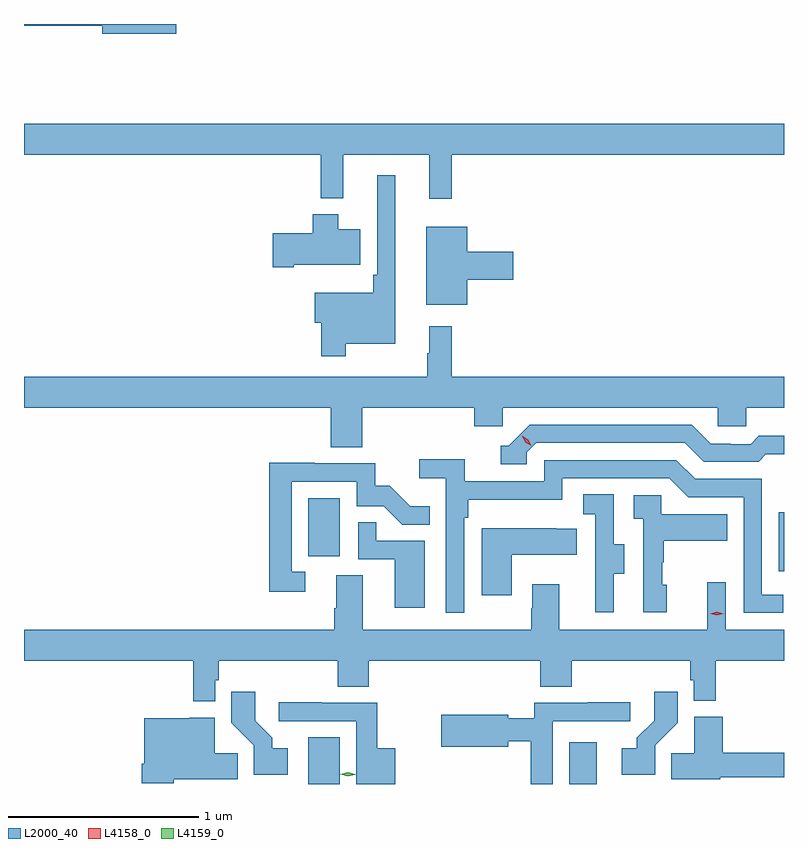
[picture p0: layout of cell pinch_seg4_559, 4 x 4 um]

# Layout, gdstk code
import gdstk
lib = gdstk.Library(unit=1e-6, precision=1e-09)
def R(c, l, rs):  # rectangles x0, y0, x1, y1
    for r in rs: c.add(gdstk.rectangle(r[:2], r[2:], *l))
def P(c, l, *ps):  # polygons
    for p in ps: c.add(gdstk.Polygon(p, *l))
L2000_40 = (2000, 40)
L4158_0 = (4158, 0)
L4159_0 = (4159, 0)

pinch_seg4_559 = lib.new_cell('pinch_seg4_559')
R(pinch_seg4_559, L2000_40, [(1102.604,786.848,1102.768,787.094), (1103.978,786.848,1104.121,787.069), (1105.08,787.968,1105.107,788.278), (1102.604,788.046,1102.768,788.353)])
P(pinch_seg4_559, L2000_40, [(1101.907,790.848),(1101.107,790.848),(1101.107,790.84),(1101.518,790.84),(1101.518,790.798),(1101.907,790.798)],
  [(1103.357,790.16),(1105.107,790.16),(1105.107,790.324),(1101.107,790.324),(1101.107,790.16),(1102.669,790.16),(1102.669,789.932),(1102.787,789.932),(1102.787,790.16),(1103.24,790.16),(1103.24,789.927),(1103.357,789.927)],
  [(1102.801,789.164),(1103.062,789.164),(1103.062,790.051),(1102.965,790.051),(1102.965,789.529),(1102.945,789.529),(1102.945,789.433),(1102.638,789.433),(1102.638,789.275),(1102.672,789.275),(1102.672,789.099),(1102.801,789.099)],
  [(1102.528,789.581),(1102.876,789.581),(1102.876,789.769),(1102.762,789.769),(1102.762,789.847),(1102.628,789.847),(1102.628,789.747),(1102.416,789.747),(1102.416,789.569),(1102.528,789.569)],
  [(1103.44,789.503),(1103.683,789.503),(1103.683,789.65),(1103.44,789.65),(1103.44,789.781),(1103.225,789.781),(1103.225,789.371),(1103.44,789.371)],
  [(1102.886,788.828),(1103.477,788.828),(1103.477,788.73),(1103.628,788.73),(1103.628,788.828),(1104.759,788.828),(1104.759,788.73),(1104.909,788.73),(1104.909,788.828),(1105.107,788.828),(1105.107,788.992),(1103.357,788.992),(1103.357,789.256),(1103.24,789.256),(1103.24,789.116),(1103.229,789.116),(1103.229,788.992),(1101.107,788.992),(1101.107,788.828),(1102.721,788.828),(1102.721,788.62),(1102.886,788.62)],
  [(1103.754,788.595),(1103.802,788.643),(1104.585,788.643),(1104.684,788.544),(1104.973,788.544),(1105.012,788.583),(1105.107,788.583),(1105.107,788.68),(1104.973,788.68),(1104.931,788.637),(1104.828,788.637),(1104.828,788.64),(1104.721,788.64),(1104.622,788.739),(1103.769,788.739),(1103.658,788.628),(1103.615,788.628),(1103.615,788.532),(1103.754,788.532)],
  [(1103.424,788.249),(1103.444,788.249),(1103.444,788.345),(1103.94,788.345),(1103.94,788.457),(1104.504,788.457),(1104.603,788.358),(1104.894,788.358),(1104.894,787.749),(1105.103,787.749),(1105.103,787.845),(1104.99,787.845),(1104.99,788.454),(1104.64,788.454),(1104.541,788.553),(1103.844,788.553),(1103.844,788.442),(1103.426,788.442),(1103.426,788.558),(1103.187,788.558),(1103.187,788.456),(1103.328,788.456),(1103.328,787.749),(1103.424,787.749)],
  [(1102.588,787.965),(1102.515,787.965),(1102.515,788.439),(1102.857,788.439),(1102.857,788.31),(1103.001,788.31),(1103.099,788.212),(1103.243,788.212),(1103.243,788.311),(1103.139,788.311),(1103.032,788.418),(1102.956,788.418),(1102.956,788.535),(1102.637,788.535),(1102.637,788.54),(1102.399,788.54),(1102.399,787.86),(1102.588,787.86)],
  [(1104.211,787.954),(1104.265,787.954),(1104.265,788.109),(1104.21,788.109),(1104.21,788.372),(1104.051,788.372),(1104.051,788.269),(1104.114,788.269),(1104.114,787.965),(1104.113,787.965),(1104.113,787.752),(1104.211,787.752)],
  [(1104.49,787.896),(1104.465,787.896),(1104.465,788.015),(1104.475,788.015),(1104.475,788.129),(1104.809,788.129),(1104.809,788.269),(1104.462,788.269),(1104.462,788.367),(1104.315,788.367),(1104.315,788.243),(1104.366,788.243),(1104.366,787.752),(1104.49,787.752)],
  [(1103.215,788.127),(1102.961,788.127),(1102.961,788.225),(1102.866,788.225),(1102.866,788.031),(1103.057,788.031),(1103.057,787.776),(1103.215,787.776)],
  [(1103.674,788.054),(1104.017,788.054),(1104.017,788.191),(1103.909,788.191),(1103.909,788.194),(1103.516,788.194),(1103.516,787.842),(1103.674,787.842)],
  [(1102.113,787.395),(1102.133,787.395),(1102.133,787.496),(1102.757,787.496),(1102.757,787.36),(1102.922,787.36),(1102.922,787.496),(1103.825,787.496),(1103.825,787.36),(1103.99,787.36),(1103.99,787.496),(1104.613,787.496),(1104.613,787.395),(1104.633,787.395),(1104.633,787.286),(1104.749,787.286),(1104.749,787.496),(1105.107,787.496),(1105.107,787.66),(1104.801,787.66),(1104.801,787.909),(1104.704,787.909),(1104.704,787.66),(1103.923,787.66),(1103.923,787.9),(1103.783,787.9),(1103.783,787.772),(1103.776,787.772),(1103.776,787.66),(1102.891,787.66),(1102.891,787.946),(1102.751,787.946),(1102.751,787.772),(1102.739,787.772),(1102.739,787.66),(1101.107,787.66),(1101.107,787.496),(1101.997,787.496),(1101.997,787.283),(1102.113,787.283)],
  [(1104.429,787.051),(1104.548,787.17),(1104.548,787.333),(1104.423,787.333),(1104.423,787.181),(1104.332,787.091),(1104.332,787.036),(1104.252,787.036),(1104.252,786.896),(1104.429,786.896)],
  [(1102.495,787.036),(1102.414,787.036),(1102.414,787.091),(1102.324,787.181),(1102.324,787.333),(1102.198,787.333),(1102.198,787.17),(1102.317,787.051),(1102.317,786.896),(1102.495,786.896)],
  [(1103.889,787.179),(1104.298,787.179),(1104.298,787.278),(1104.073,787.278),(1104.073,787.275),(1103.792,787.275),(1103.792,787.195),(1103.656,787.195),(1103.656,787.213),(1103.304,787.213),(1103.304,787.043),(1103.656,787.043),(1103.656,787.074),(1103.773,787.074),(1103.773,786.848),(1103.889,786.848)],
  [(1103.062,787.036),(1102.966,787.036),(1102.966,787.275),(1102.673,787.275),(1102.673,787.278),(1102.449,787.278),(1102.449,787.179),(1102.856,787.179),(1102.856,786.848),(1103.062,786.848)],
  [(1104.772,786.883),(1105.107,786.883),(1105.107,787.012),(1104.785,787.012),(1104.785,787.201),(1104.635,787.201),(1104.635,787.01),(1104.514,787.01),(1104.514,786.872),(1104.772,786.872)],
  [(1101.894,786.872),(1102.232,786.872),(1102.232,787.01),(1102.111,787.01),(1102.111,787.198),(1101.978,787.198),(1101.978,787.195),(1101.74,787.195),(1101.74,786.955),(1101.728,786.955),(1101.728,786.851),(1101.894,786.851)])
P(pinch_seg4_559, L4158_0, [(1104.754,787.735),(1104.719,787.745),(1104.718,787.745),(1104.719,787.745),(1104.754,787.755),(1104.789,787.745),(1104.789,787.745),(1104.789,787.745)],
  [(1103.776,788.628),(1103.745,788.647),(1103.729,788.679),(1103.729,788.68),(1103.729,788.68),(1103.76,788.66),(1103.776,788.628),(1103.776,788.628)])
P(pinch_seg4_559, L4159_0, [(1102.811,786.889),(1102.772,786.899),(1102.772,786.899),(1102.772,786.899),(1102.812,786.909),(1102.85,786.899),(1102.851,786.898),(1102.85,786.898)])

lib.write_gds('pinch_seg4_559.gds')
